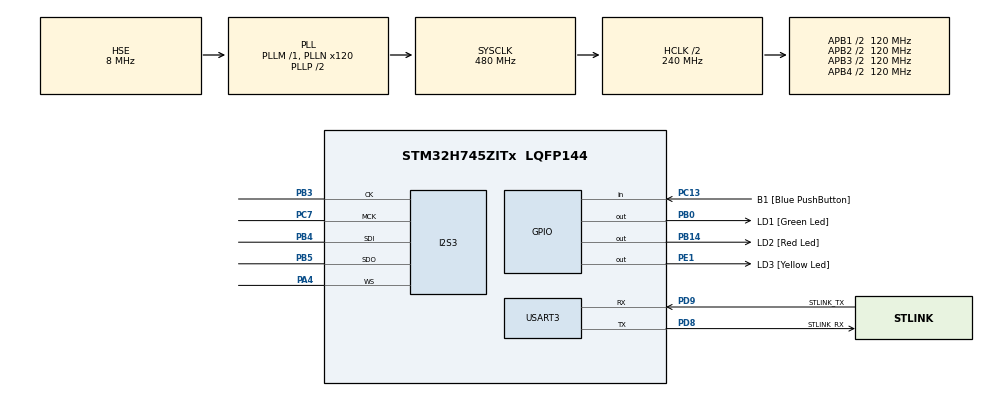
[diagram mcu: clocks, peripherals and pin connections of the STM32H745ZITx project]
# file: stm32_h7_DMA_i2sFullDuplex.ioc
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CortexM4.IPs=BDMA,CORTEX_M4\:I,DEBUG,DMA,FATFS_M4\:I,FREERTOS_M4\:I,GPIO,IWDG2\:I,MDMA,NVIC2\:I,OPENAMP_M4\:I,PDM2PCM_M4\:I,PWR,RCC,RESMGR_UTILITY,SYS_M4\:I,USB_DEVICE_M4\:I,USB_HOST_M4\:I,VREFBUF,WWDG2\:I,USART3,TIM13\:I
CortexM4.Pins=PE1
CortexM7.IPs=BDMA\:I,CORTEX_M7\:I,DEBUG\:I,DMA\:I,FATFS_M7\:I,FREERTOS_M7\:I,GPIO\:I,IWDG1\:I,MDMA\:I,NVIC1\:I,OPENAMP_M7\:I,PDM2PCM_M7\:I,PWR\:I,RCC\:I,RESMGR_UTILITY\:I,SYS\:I,USB_DEVICE_M7\:I,USB_HOST_M7\:I,VREFBUF\:I,WWDG1\:I,USART3\:I,I2S3\:I
CortexM7.Pins=PC13,PB0,PB14
Dma.Request0=SPI3_TX
Dma.Request1=SPI3_RX
Dma.SPI3_RX.1.Direction=DMA_PERIPH_TO_MEMORY
Dma.SPI3_RX.1.EventEnable=DISABLE
Dma.SPI3_RX.1.FIFOMode=DMA_FIFOMODE_DISABLE
Dma.SPI3_RX.1.Instance=DMA1_Stream1
Dma.SPI3_RX.1.MemDataAlignment=DMA_MDATAALIGN_HALFWORD
Dma.SPI3_RX.1.MemInc=DMA_MINC_ENABLE
Dma.SPI3_RX.1.Mode=DMA_CIRCULAR
Dma.SPI3_RX.1.PeriphDataAlignment=DMA_PDATAALIGN_HALFWORD
Dma.SPI3_RX.1.PeriphInc=DMA_PINC_DISABLE
Dma.SPI3_RX.1.Polarity=HAL_DMAMUX_REQ_GEN_RISING
Dma.SPI3_RX.1.Priority=DMA_PRIORITY_VERY_HIGH
Dma.SPI3_RX.1.RequestNumber=1
Dma.SPI3_RX.1.SignalID=NONE
Dma.SPI3_RX.1.SyncEnable=DISABLE
Dma.SPI3_RX.1.SyncPolarity=HAL_DMAMUX_SYNC_NO_EVENT
Dma.SPI3_RX.1.SyncRequestNumber=1
Dma.SPI3_RX.1.SyncSignalID=NONE
Dma.SPI3_TX.0.Direction=DMA_MEMORY_TO_PERIPH
Dma.SPI3_TX.0.EventEnable=DISABLE
Dma.SPI3_TX.0.FIFOMode=DMA_FIFOMODE_DISABLE
Dma.SPI3_TX.0.Instance=DMA1_Stream0
Dma.SPI3_TX.0.MemDataAlignment=DMA_MDATAALIGN_HALFWORD
Dma.SPI3_TX.0.MemInc=DMA_MINC_ENABLE
Dma.SPI3_TX.0.Mode=DMA_CIRCULAR
Dma.SPI3_TX.0.PeriphDataAlignment=DMA_PDATAALIGN_HALFWORD
Dma.SPI3_TX.0.PeriphInc=DMA_PINC_DISABLE
Dma.SPI3_TX.0.Polarity=HAL_DMAMUX_REQ_GEN_RISING
Dma.SPI3_TX.0.Priority=DMA_PRIORITY_VERY_HIGH
Dma.SPI3_TX.0.RequestNumber=1
Dma.SPI3_TX.0.SignalID=NONE
Dma.SPI3_TX.0.SyncEnable=DISABLE
Dma.SPI3_TX.0.SyncPolarity=HAL_DMAMUX_SYNC_NO_EVENT
Dma.SPI3_TX.0.SyncRequestNumber=1
Dma.SPI3_TX.0.SyncSignalID=NONE
I2S3.AudioFreq=I2S_AUDIOFREQ_48K
I2S3.DataFormat=I2S_DATAFORMAT_16B
I2S3.ErrorAudioFreq=-2.34 %
I2S3.Instance=SPI$Index
I2S3.RealAudioFreq=46.875 KHz
Mcu.Family=STM32H7
Mcu.Name=STM32H745ZITx
Mcu.Package=LQFP144
NVIC1.DMA1_Stream0_IRQn=true\:0\:0\:false\:false\:true\:false\:true\:true
NVIC1.DMA1_Stream1_IRQn=true\:0\:0\:false\:false\:true\:false\:true\:true
NVIC1.PriorityGroup=NVIC_PRIORITYGROUP_4
NVIC2.PriorityGroup=NVIC_PRIORITYGROUP_4
PA13\ (JTMS/SWDIO).Mode=Serial_Wire
PA13\ (JTMS/SWDIO).PinAttribute=CortexM7
PA13\ (JTMS/SWDIO).Signal=DEBUG_JTMS-SWDIO
PA14\ (JTCK/SWCLK).Mode=Serial_Wire
PA14\ (JTCK/SWCLK).PinAttribute=CortexM7
PA14\ (JTCK/SWCLK).Signal=DEBUG_JTCK-SWCLK
PA4.GPIO_PuPd=GPIO_PULLUP
PA4.Mode=Full_Duplex_Master
PA4.PinAttribute=CortexM7
PA4.Signal=I2S3_WS
PB0.GPIO_Label=LD1 [Green Led]
PB0.PinAttribute=CortexM7
PB0.Signal=GPIO_Output
PB14.GPIO_Label=LD2 [Red Led]
PB14.PinAttribute=CortexM7
PB14.Signal=GPIO_Output
PB3\ (JTDO/TRACESWO).GPIO_PuPd=GPIO_PULLUP
PB3\ (JTDO/TRACESWO).Mode=Full_Duplex_Master
PB3\ (JTDO/TRACESWO).PinAttribute=CortexM7
PB3\ (JTDO/TRACESWO).Signal=I2S3_CK
PB4\ (NJTRST).GPIO_PuPd=GPIO_PULLUP
PB4\ (NJTRST).Mode=Full_Duplex_Master
PB4\ (NJTRST).PinAttribute=CortexM7
PB4\ (NJTRST).Signal=I2S3_SDI
PB5.GPIO_PuPd=GPIO_PULLUP
PB5.Mode=Full_Duplex_Master
PB5.PinAttribute=CortexM7
PB5.Signal=I2S3_SDO
PC13.GPIO_Label=B1 [Blue PushButton]
PC13.PinAttribute=CortexM7
PC13.Signal=GPIO_Input
PC14-OSC32_IN\ (OSC32_IN).Mode=LSE-External-Oscillator
PC14-OSC32_IN\ (OSC32_IN).PinAttribute=CortexM7
PC14-OSC32_IN\ (OSC32_IN).Signal=RCC_OSC32_IN
PC15-OSC32_OUT\ (OSC32_OUT).Mode=LSE-External-Oscillator
PC15-OSC32_OUT\ (OSC32_OUT).PinAttribute=CortexM7
PC15-OSC32_OUT\ (OSC32_OUT).Signal=RCC_OSC32_OUT
PC7.GPIO_PuPd=GPIO_PULLUP
PC7.Mode=Master_Clock_Activated
PC7.PinAttribute=CortexM7
PC7.Signal=I2S3_MCK
PD8.GPIO_Label=STLINK_RX
PD8.Mode=Asynchronous
PD8.PinAttribute=CortexM7
PD8.Signal=USART3_TX
PD9.GPIO_Label=STLINK_TX
PD9.Mode=Asynchronous
PD9.PinAttribute=CortexM7
PD9.Signal=USART3_RX
PE1.GPIO_Label=LD3 [Yellow Led]
PE1.PinAttribute=CortexM4
PE1.Signal=GPIO_Output
PH0-OSC_IN\ (PH0).Mode=HSE-External-Clock-Source
PH0-OSC_IN\ (PH0).PinAttribute=CortexM7
PH0-OSC_IN\ (PH0).Signal=RCC_OSC_IN
ProjectManager.HeapSize=M4-0x200,M7-0x200
ProjectManager.StackSize=M4-0x400,M7-0x400
ProjectManager.TargetToolchain=STM32CubeIDE
RCC.ADCFreq_Value=16125000
RCC.APB1Freq_Value=120000000
RCC.APB2Freq_Value=120000000
RCC.APB3Freq_Value=120000000
RCC.APB4Freq_Value=120000000
RCC.CortexFreq_Value=480000000
RCC.D1PPRE=RCC_APB3_DIV2
RCC.D2PPRE1=RCC_APB1_DIV2
RCC.D2PPRE2=RCC_APB2_DIV2
RCC.D3PPRE=RCC_APB4_DIV2
RCC.DIVM1=1
RCC.DIVN1=120
RCC.DIVQ1=10
RCC.HCLKFreq_Value=240000000
RCC.HPRE=RCC_HCLK_DIV2
RCC.HSE_VALUE=8000000
RCC.PLLSourceVirtual=RCC_PLLSOURCE_HSE
RCC.SYSCLKFreq_VALUE=480000000
RCC.SYSCLKSource=RCC_SYSCLKSOURCE_PLLCLK
RCC.USBFreq_Value=96000000
SYS.userName=SYS_M7
USART3.VirtualMode-Asynchronous=VM_ASYNC
VP_SYS_M4_VS_Systick.Mode=SysTick
board=custom

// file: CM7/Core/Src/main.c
/* USER CODE BEGIN Header */
/**
  ******************************************************************************
  * @file           : main.c
  * @brief          : Main program body
  ******************************************************************************
  * @attention
  *
  * Copyright (c) 2023 STMicroelectronics.
  * All rights reserved.
  *
  * This software is licensed under terms that can be found in the LICENSE file
  * in the root directory of this software component.
  * If no LICENSE file comes with this software, it is provided AS-IS.
  *
  ******************************************************************************
  */
/* USER CODE END Header */
#include "main.h"

/* USER CODE BEGIN PTD */
#define BUFFER_SIZE 128

#define  MAX_DELAY_SECONDS  (2)
#define  DELAY_LINE_SIZE (48000)
/* USER CODE END PTD */

/* USER CODE BEGIN PD */

#ifndef HSEM_ID_0
#define HSEM_ID_0 (0U) /* HW semaphore 0*/
#endif
/* USER CODE END PD */

I2S_HandleTypeDef hi2s3;
DMA_HandleTypeDef hdma_spi3_tx;
DMA_HandleTypeDef hdma_spi3_rx;

UART_HandleTypeDef huart3;

/* USER CODE BEGIN PV */

int16_t adcData[BUFFER_SIZE];
int16_t dacData[BUFFER_SIZE];

static volatile int16_t* inBufPtr;
static volatile int16_t* outBufPtr = &dacData[0];
volatile float delay_line_left[DELAY_LINE_SIZE];
volatile float delay_line_right[DELAY_LINE_SIZE];

// length of delay in seconds
const float    delay_len_seconds = 1.0;

// length of delay in samples
uint32_t  delay_len_samples = (uint32_t) delay_len_seconds * 48000L;

// wet mix (from delay line)
float    delay_wet_mix = 0.5;

// dry mix (original audio)
float    delay_dry_mix = 0.5;

// delay feedback
float    delay_feedback = 0.7;

uint32_t delay_line_index = 0;

uint8_t dataReadyFlag;
/* USER CODE END PV */

void SystemClock_Config(void);
static void MX_GPIO_Init(void);
static void MX_USART3_UART_Init(void);
static void MX_DMA_Init(void);
static void MX_I2S3_Init(void);

/* USER CODE BEGIN 0 */
void HAL_I2SEx_TxRxHalfCpltCallback(I2S_HandleTypeDef *hi2s)
{
	inBufPtr = &adcData[0];
	outBufPtr = &dacData[0];
	dataReadyFlag = 1;
}

void HAL_I2SEx_TxRxCpltCallback(I2S_HandleTypeDef *hi2s)
{
	inBufPtr = &adcData[BUFFER_SIZE/2];
	outBufPtr = &dacData[BUFFER_SIZE/2];
	dataReadyFlag = 1;
}

void processaudio_setup( void ) {
    int i;

    // zero delay lines used for echo effect
    for (i=0;i<DELAY_LINE_SIZE;i++) {
        delay_line_left[i] = 0.0;
        delay_line_right[i] = 0.0;
    }
}

void processData() {
	static float leftIn, leftOut;
	static float rightIn, rightOut;

	for(uint8_t n = 0; n < (BUFFER_SIZE/2) -1; n+=2){
		leftIn = (1.0f/32768.0f)* inBufPtr[n];
		if(leftIn > 1.0f) {
			leftIn -= 2.0f;
		}
		leftOut = leftIn;

		outBufPtr[n] = (int16_t) ((32768.0f)* leftOut);

		rightIn = (1.0f /32768.0f) * inBufPtr[n+1];
		if(rightIn > 1.0f) {
			rightIn -= 2.0f;
		}
		rightOut = rightIn;
		outBufPtr[n+1] = (int16_t) ((32768.0f)* rightOut);
	}
	dataReadyFlag = 0;
}

/* USER CODE END 0 */

int main(void)
{
/* USER CODE BEGIN Boot_Mode_Sequence_0 */
  int32_t timeout;
/* USER CODE END Boot_Mode_Sequence_0 */

/* USER CODE BEGIN Boot_Mode_Sequence_1 */
  /* Wait until CPU2 boots and enters in stop mode or timeout*/

  timeout = 0xFFFF;
  while((__HAL_RCC_GET_FLAG(RCC_FLAG_D2CKRDY) != RESET) && (timeout-- > 0));
  if ( timeout < 0 )
  {
  Error_Handler();
  }
/* USER CODE END Boot_Mode_Sequence_1 */
  /* MCU Configuration--------------------------------------------------------*/

  /* Reset of all peripherals, Initializes the Flash interface and the Systick. */
  HAL_Init();

  /* Configure the system clock */
  SystemClock_Config();
/* USER CODE BEGIN Boot_Mode_Sequence_2 */
/* When system initialization is finished, Cortex-M7 will release Cortex-M4 by means of
HSEM notification */
/*HW semaphore Clock enable*/
__HAL_RCC_HSEM_CLK_ENABLE();
/*Take HSEM */
HAL_HSEM_FastTake(HSEM_ID_0);
/*Release HSEM in order to notify the CPU2(CM4)*/
HAL_HSEM_Release(HSEM_ID_0,0);
/* wait until CPU2 wakes up from stop mode */
timeout = 0xFFFF;
while((__HAL_RCC_GET_FLAG(RCC_FLAG_D2CKRDY) == RESET) && (timeout-- > 0));
if ( timeout < 0 )
{
Error_Handler();
}
/* USER CODE END Boot_Mode_Sequence_2 */

  /* Initialize all configured peripherals */
  MX_GPIO_Init();
  MX_USART3_UART_Init();
  MX_DMA_Init();
  MX_I2S3_Init();
  /* USER CODE BEGIN 2 */
  HAL_I2SEx_TransmitReceive_DMA(&hi2s3, (uint16_t*) dacData, (uint16_t*) adcData, BUFFER_SIZE);
  /* USER CODE END 2 */

  /* Infinite loop */
  /* USER CODE BEGIN WHILE */
  processaudio_setup();
  while (1)
  {
    /* USER CODE END WHILE */
	  if(dataReadyFlag) {
		  processData();
	  }

  }
}

void SystemClock_Config(void)
{
  RCC_OscInitTypeDef RCC_OscInitStruct = {0};
  RCC_ClkInitTypeDef RCC_ClkInitStruct = {0};

  /** Supply configuration update enable
  */
  HAL_PWREx_ConfigSupply(PWR_DIRECT_SMPS_SUPPLY);

  /** Configure the main internal regulator output voltage
  */
  __HAL_PWR_VOLTAGESCALING_CONFIG(PWR_REGULATOR_VOLTAGE_SCALE0);

  while(!__HAL_PWR_GET_FLAG(PWR_FLAG_VOSRDY)) {}

  /** Initializes the RCC Oscillators according to the specified parameters
  * in the RCC_OscInitTypeDef structure.
  */
  RCC_OscInitStruct.OscillatorType = RCC_OSCILLATORTYPE_HSE;
  RCC_OscInitStruct.HSEState = RCC_HSE_BYPASS;
  RCC_OscInitStruct.PLL.PLLState = RCC_PLL_ON;
  RCC_OscInitStruct.PLL.PLLSource = RCC_PLLSOURCE_HSE;
  RCC_OscInitStruct.PLL.PLLM = 1;
  RCC_OscInitStruct.PLL.PLLN = 120;
  RCC_OscInitStruct.PLL.PLLP = 2;
  RCC_OscInitStruct.PLL.PLLQ = 10;
  RCC_OscInitStruct.PLL.PLLR = 2;
  RCC_OscInitStruct.PLL.PLLRGE = RCC_PLL1VCIRANGE_3;
  RCC_OscInitStruct.PLL.PLLVCOSEL = RCC_PLL1VCOWIDE;
  RCC_OscInitStruct.PLL.PLLFRACN = 0;
  if (HAL_RCC_OscConfig(&RCC_OscInitStruct) != HAL_OK)
  {
    Error_Handler();
  }

  /** Initializes the CPU, AHB and APB buses clocks
  */
  RCC_ClkInitStruct.ClockType = RCC_CLOCKTYPE_HCLK|RCC_CLOCKTYPE_SYSCLK
                              |RCC_CLOCKTYPE_PCLK1|RCC_CLOCKTYPE_PCLK2
                              |RCC_CLOCKTYPE_D3PCLK1|RCC_CLOCKTYPE_D1PCLK1;
  RCC_ClkInitStruct.SYSCLKSource = RCC_SYSCLKSOURCE_PLLCLK;
  RCC_ClkInitStruct.SYSCLKDivider = RCC_SYSCLK_DIV1;
  RCC_ClkInitStruct.AHBCLKDivider = RCC_HCLK_DIV2;
  RCC_ClkInitStruct.APB3CLKDivider = RCC_APB3_DIV2;
  RCC_ClkInitStruct.APB1CLKDivider = RCC_APB1_DIV2;
  RCC_ClkInitStruct.APB2CLKDivider = RCC_APB2_DIV2;
  RCC_ClkInitStruct.APB4CLKDivider = RCC_APB4_DIV2;

  if (HAL_RCC_ClockConfig(&RCC_ClkInitStruct, FLASH_LATENCY_4) != HAL_OK)
  {
    Error_Handler();
  }
}

static void MX_I2S3_Init(void)
{

  hi2s3.Instance = SPI3;
  hi2s3.Init.Mode = I2S_MODE_MASTER_FULLDUPLEX;
  hi2s3.Init.Standard = I2S_STANDARD_PHILIPS;
  hi2s3.Init.DataFormat = I2S_DATAFORMAT_16B;
  hi2s3.Init.MCLKOutput = I2S_MCLKOUTPUT_ENABLE;
  hi2s3.Init.AudioFreq = I2S_AUDIOFREQ_48K;
  hi2s3.Init.CPOL = I2S_CPOL_LOW;
  hi2s3.Init.FirstBit = I2S_FIRSTBIT_MSB;
  hi2s3.Init.WSInversion = I2S_WS_INVERSION_DISABLE;
  hi2s3.Init.Data24BitAlignment = I2S_DATA_24BIT_ALIGNMENT_RIGHT;
  hi2s3.Init.MasterKeepIOState = I2S_MASTER_KEEP_IO_STATE_DISABLE;
  if (HAL_I2S_Init(&hi2s3) != HAL_OK)
  {
    Error_Handler();
  }

}

static void MX_USART3_UART_Init(void)
{

  huart3.Instance = USART3;
  huart3.Init.BaudRate = 115200;
  huart3.Init.WordLength = UART_WORDLENGTH_8B;
  huart3.Init.StopBits = UART_STOPBITS_1;
  huart3.Init.Parity = UART_PARITY_NONE;
  huart3.Init.Mode = UART_MODE_TX_RX;
  huart3.Init.HwFlowCtl = UART_HWCONTROL_NONE;
  huart3.Init.OverSampling = UART_OVERSAMPLING_16;
  huart3.Init.OneBitSampling = UART_ONE_BIT_SAMPLE_DISABLE;
  huart3.Init.ClockPrescaler = UART_PRESCALER_DIV1;
  huart3.AdvancedInit.AdvFeatureInit = UART_ADVFEATURE_NO_INIT;
  if (HAL_UART_Init(&huart3) != HAL_OK)
  {
    Error_Handler();
  }
  if (HAL_UARTEx_SetTxFifoThreshold(&huart3, UART_TXFIFO_THRESHOLD_1_8) != HAL_OK)
  {
    Error_Handler();
  }
  if (HAL_UARTEx_SetRxFifoThreshold(&huart3, UART_RXFIFO_THRESHOLD_1_8) != HAL_OK)
  {
    Error_Handler();
  }
  if (HAL_UARTEx_DisableFifoMode(&huart3) != HAL_OK)
  {
    Error_Handler();
  }

}

static void MX_DMA_Init(void)
{

  /* DMA controller clock enable */
  __HAL_RCC_DMA1_CLK_ENABLE();

  /* DMA interrupt init */
  /* DMA1_Stream0_IRQn interrupt configuration */
  HAL_NVIC_SetPriority(DMA1_Stream0_IRQn, 0, 0);
  HAL_NVIC_EnableIRQ(DMA1_Stream0_IRQn);
  /* DMA1_Stream1_IRQn interrupt configuration */
  HAL_NVIC_SetPriority(DMA1_Stream1_IRQn, 0, 0);
  HAL_NVIC_EnableIRQ(DMA1_Stream1_IRQn);

}

static void MX_GPIO_Init(void)
{
  GPIO_InitTypeDef GPIO_InitStruct = {0};

  /* GPIO Ports Clock Enable */
  __HAL_RCC_GPIOC_CLK_ENABLE();
  __HAL_RCC_GPIOH_CLK_ENABLE();
  __HAL_RCC_GPIOA_CLK_ENABLE();
  __HAL_RCC_GPIOB_CLK_ENABLE();
  __HAL_RCC_GPIOD_CLK_ENABLE();

  /*Configure GPIO pin Output Level */
  HAL_GPIO_WritePin(GPIOB, LD1_Pin|LD2_Pin, GPIO_PIN_RESET);

  /*Configure GPIO pin : B1_Pin */
  GPIO_InitStruct.Pin = B1_Pin;
  GPIO_InitStruct.Mode = GPIO_MODE_INPUT;
  GPIO_InitStruct.Pull = GPIO_NOPULL;
  HAL_GPIO_Init(B1_GPIO_Port, &GPIO_InitStruct);

  /*Configure GPIO pins : LD1_Pin LD2_Pin */
  GPIO_InitStruct.Pin = LD1_Pin|LD2_Pin;
  GPIO_InitStruct.Mode = GPIO_MODE_OUTPUT_PP;
  GPIO_InitStruct.Pull = GPIO_NOPULL;
  GPIO_InitStruct.Speed = GPIO_SPEED_FREQ_LOW;
  HAL_GPIO_Init(GPIOB, &GPIO_InitStruct);

}

void Error_Handler(void)
{
  __disable_irq();
  while (1)
  {
  }
}
